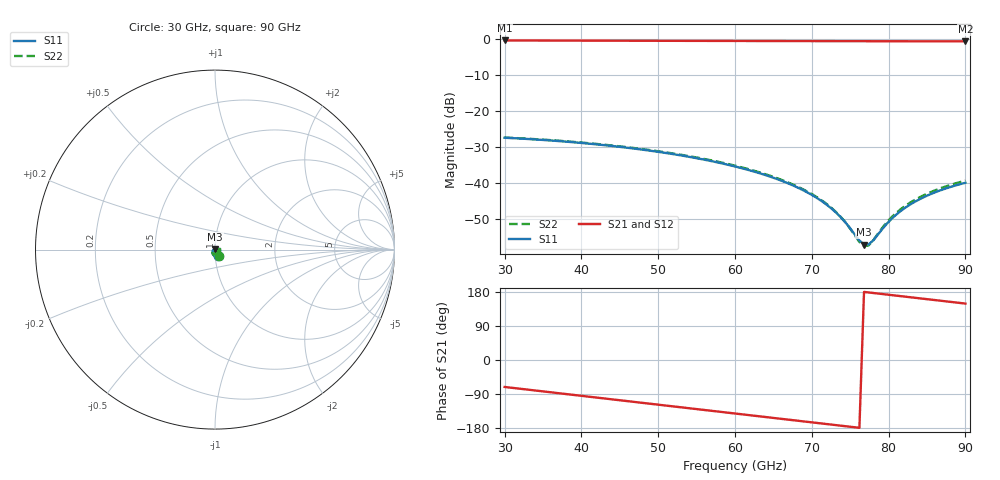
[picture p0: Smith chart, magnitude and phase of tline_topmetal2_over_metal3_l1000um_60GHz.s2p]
#  GHZ S DB R 50
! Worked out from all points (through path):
!   101 points, 30 GHz to 90 GHz, reference 50 ohm
!   highest |S21| = -0.50 dB at 30 GHz (marker M1); lowest = -0.8 dB at 90 GHz (marker M2)
!   group delay of S21, straight-line fit = 6.48 ps
!   lowest |S11| = -57.0 dB at 76.8 GHz (marker M3), VSWR 1.00, Z = 50 + j0.14 ohm
!   |S11| at or under -10 dB: start of sweep to end of sweep
!   |S22| runs from -57.5 to -27.4 dB; largest |S21 - S12| = 1.1e-14
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30  -27.47 -62.6  -0.50 -71.1  -0.50 -71.1  -27.40 -62.7
35.4  -28.13 -77.1  -0.53 -83.8  -0.53 -83.8  -28.04 -77.2
40.2  -28.94 -90.0  -0.55 -95.0  -0.55 -95.0  -28.83 -90.1
45  -29.98 -102.9  -0.58 -106.2  -0.58 -106.2  -29.85 -103.0
50.4  -31.49 -117.6  -0.60 -118.8  -0.60 -118.8  -31.32 -117.7
55.2  -33.20 -130.9  -0.62 -130.0  -0.62 -130.0  -33.01 -130.9
60  -35.41 -144.6  -0.64 -141.2  -0.64 -141.2  -35.19 -144.5
66  -39.32 -163.1  -0.67 -155.2  -0.67 -155.2  -39.08 -162.7
70.2  -43.54 -178.8  -0.68 -165.0  -0.68 -165.0  -43.31 -178.0
72  -46.11 172.2  -0.69 -169.2  -0.69 -169.2  -45.92 173.3
73.2  -48.28 164.2  -0.69 -172.0  -0.69 -172.0  -48.14 165.5
74.4  -50.98 152.7  -0.70 -174.8  -0.70 -174.8  -50.96 154.3
76.2  -55.93 117.3  -0.71 -179.0  -0.71 -179.0  -56.32 117.6
76.8  -57.04 96.2  -0.71 179.6  -0.71 179.6  -57.50 94.4
77.4  -57.01 72.6  -0.71 178.2  -0.71 178.2  -57.28 68.8
78  -55.89 52.0  -0.71 176.8  -0.71 176.8  -55.87 47.7
79.2  -52.70 26.0  -0.72 174.0  -0.72 174.0  -52.35 22.5
80.4  -49.91 11.8  -0.72 171.3  -0.72 171.3  -49.46 9.3
82.2  -46.80 -1.1  -0.73 167.1  -0.73 167.1  -46.29 -2.7
84.6  -43.90 -12.6  -0.73 161.5  -0.73 161.5  -43.36 -13.6
87  -41.83 -21.7  -0.74 155.9  -0.74 155.9  -41.27 -22.4
90  -39.94 -31.7  -0.75 148.9  -0.75 148.9  -39.35 -32.1
